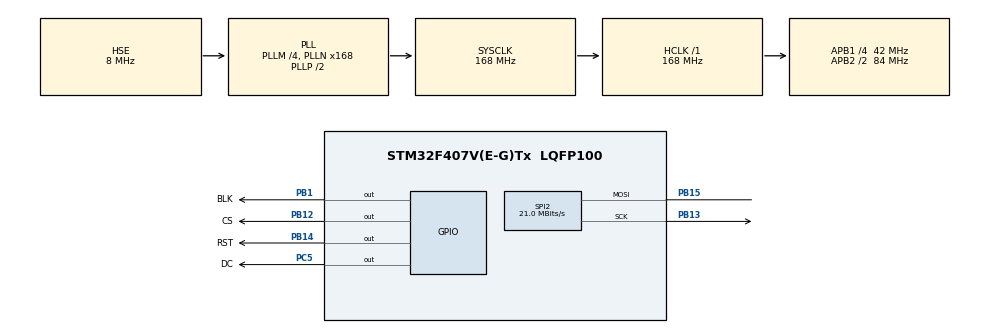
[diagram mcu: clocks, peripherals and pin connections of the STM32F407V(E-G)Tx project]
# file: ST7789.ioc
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Mcu.Family=STM32F4
Mcu.Name=STM32F407V(E-G)Tx
Mcu.Package=LQFP100
NVIC.PriorityGroup=NVIC_PRIORITYGROUP_4
PA13.Mode=Serial_Wire
PA13.Signal=SYS_JTMS-SWDIO
PA14.Mode=Serial_Wire
PA14.Signal=SYS_JTCK-SWCLK
PB1.GPIO_Label=BLK
PB1.GPIO_Speed=GPIO_SPEED_FREQ_VERY_HIGH
PB1.PinState=GPIO_PIN_SET
PB1.Signal=GPIO_Output
PB12.GPIO_Label=CS
PB12.GPIO_Speed=GPIO_SPEED_FREQ_VERY_HIGH
PB12.PinState=GPIO_PIN_SET
PB12.Signal=GPIO_Output
PB13.Mode=Simplex_Bidirectional_Master
PB13.Signal=SPI2_SCK
PB14.GPIO_Label=RST
PB14.GPIO_Speed=GPIO_SPEED_FREQ_VERY_HIGH
PB14.Signal=GPIO_Output
PB15.Mode=Simplex_Bidirectional_Master
PB15.Signal=SPI2_MOSI
PC5.GPIO_Label=DC
PC5.GPIO_Speed=GPIO_SPEED_FREQ_VERY_HIGH
PC5.Signal=GPIO_Output
PH0-OSC_IN.Mode=HSE-External-Oscillator
PH0-OSC_IN.Signal=RCC_OSC_IN
PH1-OSC_OUT.Mode=HSE-External-Oscillator
PH1-OSC_OUT.Signal=RCC_OSC_OUT
ProjectManager.HeapSize=0x200
ProjectManager.StackSize=0x400
ProjectManager.TargetToolchain=STM32CubeIDE
RCC.48MHZClocksFreq_Value=84000000
RCC.AHBFreq_Value=168000000
RCC.APB1CLKDivider=RCC_HCLK_DIV4
RCC.APB1Freq_Value=42000000
RCC.APB1TimFreq_Value=84000000
RCC.APB2CLKDivider=RCC_HCLK_DIV2
RCC.APB2Freq_Value=84000000
RCC.APB2TimFreq_Value=168000000
RCC.CortexFreq_Value=168000000
RCC.HCLKFreq_Value=168000000
RCC.HSE_VALUE=8000000
RCC.HSI_VALUE=16000000
RCC.LSE_VALUE=32768
RCC.PLLM=4
RCC.PLLN=168
RCC.PLLSourceVirtual=RCC_PLLSOURCE_HSE
RCC.SYSCLKFreq_VALUE=168000000
RCC.SYSCLKSource=RCC_SYSCLKSOURCE_PLLCLK
RCC.VCOOutputFreq_Value=336000000
SPI2.BaudRatePrescaler=SPI_BAUDRATEPRESCALER_2
SPI2.CLKPhase=SPI_PHASE_2EDGE
SPI2.CLKPolarity=SPI_POLARITY_HIGH
SPI2.CalculateBaudRate=21.0 MBits/s
SPI2.Direction=SPI_DIRECTION_1LINE
SPI2.Mode=SPI_MODE_MASTER
SPI2.VirtualType=VM_MASTER
board=custom

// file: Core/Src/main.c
/* USER CODE BEGIN Header */
/**
  ******************************************************************************
  * @file           : main.c
  * @brief          : Main program body
  ******************************************************************************
  * @attention
  *
  * Copyright (c) 2025 STMicroelectronics.
  * All rights reserved.
  *
  * This software is licensed under terms that can be found in the LICENSE file
  * in the root directory of this software component.
  * If no LICENSE file comes with this software, it is provided AS-IS.
  *
  ******************************************************************************
  */
/* USER CODE END Header */
#include "main.h"

/* USER CODE BEGIN Includes */
#include "stdio.h"
#include "Anglas_ST7789.h"
#include "fonts.h"
#include "math.h"
#include "bitmap.h"
/* USER CODE END Includes */

SPI_HandleTypeDef hspi2;

/* USER CODE BEGIN PV */
uint16_t contInt=0;
float contFloat=0.0;
char buff[32];
/* USER CODE END PV */

void SystemClock_Config(void);
static void MX_GPIO_Init(void);
static void MX_SPI2_Init(void);

int main(void)
{

  /* MCU Configuration--------------------------------------------------------*/

  /* Reset of all peripherals, Initializes the Flash interface and the Systick. */
  HAL_Init();

  /* Configure the system clock */
  SystemClock_Config();

  /* Initialize all configured peripherals */
  MX_GPIO_Init();
  MX_SPI2_Init();
  /* USER CODE BEGIN 2 */
  ST7789_Init();
  ST7789_rotation(4);
  ST7789_FillScreen(ST7789_RED);
  HAL_Delay(500);
  ST7789_FillScreen(ST7789_BLUE);
  HAL_Delay(500);
  ST7789_FillScreen(ST7789_GREEN);
  HAL_Delay(500);

  //ST7789_FillScreen(RGB565(0, 10, 100));

  ST7789_DrawImage(0, 0, 320, 170, blink_320x170);
  HAL_Delay(1000);
  ST7789_DrawImage(0, 0, 320, 170, shenanigans_320x170);
  HAL_Delay(1000);
  ST7789_DrawImage(0, 0, 320, 170, korn_320x170);
  HAL_Delay(1000);

  /*ST7789_DrawImage(0, 0, 240, 135, img3);
  HAL_Delay(1000);
  ST7789_DrawImage(0, 0, 240, 135, img2);
  HAL_Delay(3000);
  ST7789_DrawImage(0, 0, 240, 135, img1);
  HAL_Delay(3000);*/

  ST7789_print(50, 20, RGB565(255, 255, 255) , RGB565(0, 80, 100) , 1, &Font_16x26, 1, "STM32 TFT" );
  ST7789_print(40, 60, RGB565(255, 0, 0) , RGB565(0, 10, 100) , 1, &Font_11x18, 1, "Anglas Library" );
  ST7789_print(10, 100, RGB565(0, 255, 0) , RGB565(0, 10, 100) , 1, &Font_7x9, 2, "ST7789 : 135x240" );

  /* USER CODE END 2 */

  /* Infinite loop */
  /* USER CODE BEGIN WHILE */
  while (1)
  {
      contInt++;
      sprintf(buff,"INT: %dmA",contInt);
      ST7789_print(50, 20, RGB565(255, 255, 255) , RGB565(0, 10, 100) , 1, &Font_16x26, 1, buff);//135x240

      contFloat+=0.1;
      sprintf(buff,"FLOAT: %4.2fV",contFloat);
      ST7789_print(40, 60, RGB565(255, 0, 0) , RGB565(0, 10, 100) , 1, &Font_11x18, 1, buff);//135x240
    /* USER CODE END WHILE */

  }
}

void SystemClock_Config(void)
{
  RCC_OscInitTypeDef RCC_OscInitStruct = {0};
  RCC_ClkInitTypeDef RCC_ClkInitStruct = {0};

  /** Configure the main internal regulator output voltage
  */
  __HAL_RCC_PWR_CLK_ENABLE();
  __HAL_PWR_VOLTAGESCALING_CONFIG(PWR_REGULATOR_VOLTAGE_SCALE1);

  /** Initializes the RCC Oscillators according to the specified parameters
  * in the RCC_OscInitTypeDef structure.
  */
  RCC_OscInitStruct.OscillatorType = RCC_OSCILLATORTYPE_HSE;
  RCC_OscInitStruct.HSEState = RCC_HSE_ON;
  RCC_OscInitStruct.PLL.PLLState = RCC_PLL_ON;
  RCC_OscInitStruct.PLL.PLLSource = RCC_PLLSOURCE_HSE;
  RCC_OscInitStruct.PLL.PLLM = 4;
  RCC_OscInitStruct.PLL.PLLN = 168;
  RCC_OscInitStruct.PLL.PLLP = RCC_PLLP_DIV2;
  RCC_OscInitStruct.PLL.PLLQ = 4;
  if (HAL_RCC_OscConfig(&RCC_OscInitStruct) != HAL_OK)
  {
    Error_Handler();
  }

  /** Initializes the CPU, AHB and APB buses clocks
  */
  RCC_ClkInitStruct.ClockType = RCC_CLOCKTYPE_HCLK|RCC_CLOCKTYPE_SYSCLK
                              |RCC_CLOCKTYPE_PCLK1|RCC_CLOCKTYPE_PCLK2;
  RCC_ClkInitStruct.SYSCLKSource = RCC_SYSCLKSOURCE_PLLCLK;
  RCC_ClkInitStruct.AHBCLKDivider = RCC_SYSCLK_DIV1;
  RCC_ClkInitStruct.APB1CLKDivider = RCC_HCLK_DIV4;
  RCC_ClkInitStruct.APB2CLKDivider = RCC_HCLK_DIV2;

  if (HAL_RCC_ClockConfig(&RCC_ClkInitStruct, FLASH_LATENCY_5) != HAL_OK)
  {
    Error_Handler();
  }
}

static void MX_SPI2_Init(void)
{

  /* SPI2 parameter configuration*/
  hspi2.Instance = SPI2;
  hspi2.Init.Mode = SPI_MODE_MASTER;
  hspi2.Init.Direction = SPI_DIRECTION_1LINE;
  hspi2.Init.DataSize = SPI_DATASIZE_8BIT;
  hspi2.Init.CLKPolarity = SPI_POLARITY_HIGH;
  hspi2.Init.CLKPhase = SPI_PHASE_2EDGE;
  hspi2.Init.NSS = SPI_NSS_SOFT;
  hspi2.Init.BaudRatePrescaler = SPI_BAUDRATEPRESCALER_2;
  hspi2.Init.FirstBit = SPI_FIRSTBIT_MSB;
  hspi2.Init.TIMode = SPI_TIMODE_DISABLE;
  hspi2.Init.CRCCalculation = SPI_CRCCALCULATION_DISABLE;
  hspi2.Init.CRCPolynomial = 10;
  if (HAL_SPI_Init(&hspi2) != HAL_OK)
  {
    Error_Handler();
  }

}

static void MX_GPIO_Init(void)
{
  GPIO_InitTypeDef GPIO_InitStruct = {0};

  /* GPIO Ports Clock Enable */
  __HAL_RCC_GPIOH_CLK_ENABLE();
  __HAL_RCC_GPIOC_CLK_ENABLE();
  __HAL_RCC_GPIOB_CLK_ENABLE();
  __HAL_RCC_GPIOA_CLK_ENABLE();

  /*Configure GPIO pin Output Level */
  HAL_GPIO_WritePin(DC_GPIO_Port, DC_Pin, GPIO_PIN_RESET);

  /*Configure GPIO pin Output Level */
  HAL_GPIO_WritePin(GPIOB, BLK_Pin|CS_Pin, GPIO_PIN_SET);

  /*Configure GPIO pin Output Level */
  HAL_GPIO_WritePin(RST_GPIO_Port, RST_Pin, GPIO_PIN_RESET);

  /*Configure GPIO pin : DC_Pin */
  GPIO_InitStruct.Pin = DC_Pin;
  GPIO_InitStruct.Mode = GPIO_MODE_OUTPUT_PP;
  GPIO_InitStruct.Pull = GPIO_NOPULL;
  GPIO_InitStruct.Speed = GPIO_SPEED_FREQ_VERY_HIGH;
  HAL_GPIO_Init(DC_GPIO_Port, &GPIO_InitStruct);

  /*Configure GPIO pins : BLK_Pin CS_Pin RST_Pin */
  GPIO_InitStruct.Pin = BLK_Pin|CS_Pin|RST_Pin;
  GPIO_InitStruct.Mode = GPIO_MODE_OUTPUT_PP;
  GPIO_InitStruct.Pull = GPIO_NOPULL;
  GPIO_InitStruct.Speed = GPIO_SPEED_FREQ_VERY_HIGH;
  HAL_GPIO_Init(GPIOB, &GPIO_InitStruct);

}

void Error_Handler(void)
{
  __disable_irq();
  while (1)
  {
  }
}
